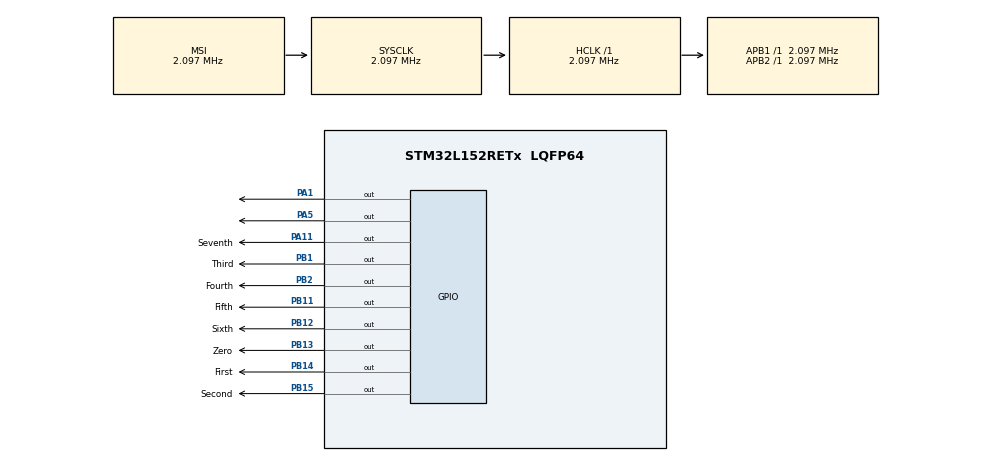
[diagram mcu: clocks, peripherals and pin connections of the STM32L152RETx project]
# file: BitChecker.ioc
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Mcu.Family=STM32L1
Mcu.Name=STM32L152RETx
Mcu.Package=LQFP64
NVIC.PriorityGroup=NVIC_PRIORITYGROUP_4
PA1.PinState=GPIO_PIN_SET
PA1.Signal=GPIO_Output
PA11.GPIO_Label=Seventh
PA11.PinState=GPIO_PIN_SET
PA11.Signal=GPIO_Output
PA5.Signal=GPIO_Output
PB1.GPIO_Label=Third
PB1.GPIO_Speed=GPIO_SPEED_FREQ_LOW
PB1.PinState=GPIO_PIN_SET
PB1.Signal=GPIO_Output
PB11.GPIO_Label=Fifth
PB11.Signal=GPIO_Output
PB12.GPIO_Label=Sixth
PB12.Signal=GPIO_Output
PB13.GPIO_Label=Zero
PB13.Signal=GPIO_Output
PB14.GPIO_Label=First
PB14.Signal=GPIO_Output
PB15.GPIO_Label=Second
PB15.Signal=GPIO_Output
PB2.GPIO_Label=Fourth
PB2.Signal=GPIO_Output
ProjectManager.HeapSize=0x200
ProjectManager.StackSize=0x400
ProjectManager.TargetToolchain=MDK-ARM V5.27
RCC.AHBFreq_Value=2097000
RCC.APB1Freq_Value=2097000
RCC.APB2Freq_Value=2097000
RCC.HSE_VALUE=24000000
RCC.HSI_VALUE=16000000
RCC.LSE_VALUE=32768
RCC.MSI_VALUE=2097000
RCC.SYSCLKFreq_VALUE=2097000
RCC.VCOOutputFreq_Value=48000000
board=custom

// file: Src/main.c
/* USER CODE BEGIN Header */
/**
  ******************************************************************************
  * @file           : main.c
  * @brief          : Main program body
  ******************************************************************************
  * @attention
  *
  * <h2><center>&copy; Copyright (c) 2020 STMicroelectronics.
  * All rights reserved.</center></h2>
  *
  * This software component is licensed by ST under BSD 3-Clause license,
  * the "License"; You may not use this file except in compliance with the
  * License. You may obtain a copy of the License at:
  *                        opensource.org/licenses/BSD-3-Clause
  *
  ******************************************************************************
  */
/* USER CODE END Header */

#include "main.h"

/* USER CODE BEGIN PM */
void SendToComp(uint8_t *input);
void setPin(GPIO_TypeDef* GPIOx, uint16_t GPIO_Pin, int shift_amt, uint8_t *input);
/* USER CODE END PM */

void SystemClock_Config(void);
static void MX_GPIO_Init(void);

int main(void)
{
  /* USER CODE BEGIN 1 */
	uint8_t var;
  /* USER CODE END 1 */

  /* MCU Configuration--------------------------------------------------------*/

  /* Reset of all peripherals, Initializes the Flash interface and the Systick. */
  HAL_Init();

  /* Configure the system clock */
  SystemClock_Config();

  /* Initialize all configured peripherals */
  MX_GPIO_Init();

  /* Infinite loop */
  while (1)
  {

    /* USER CODE BEGIN 3 */
		HAL_GPIO_WritePin(GPIOA, GPIO_PIN_1, GPIO_PIN_SET);
		var = 0xAA;
		SendToComp(&var);
		HAL_Delay(100);
		var = 0x55;
		SendToComp(&var);
		HAL_Delay(100);
  }
  /* USER CODE END 3 */
}

void SystemClock_Config(void)
{
  RCC_OscInitTypeDef RCC_OscInitStruct = {0};
  RCC_ClkInitTypeDef RCC_ClkInitStruct = {0};

  /** Configure the main internal regulator output voltage
  */
  __HAL_PWR_VOLTAGESCALING_CONFIG(PWR_REGULATOR_VOLTAGE_SCALE1);
  /** Initializes the CPU, AHB and APB busses clocks
  */
  RCC_OscInitStruct.OscillatorType = RCC_OSCILLATORTYPE_MSI;
  RCC_OscInitStruct.MSIState = RCC_MSI_ON;
  RCC_OscInitStruct.MSICalibrationValue = 0;
  RCC_OscInitStruct.MSIClockRange = RCC_MSIRANGE_5;
  RCC_OscInitStruct.PLL.PLLState = RCC_PLL_NONE;
  if (HAL_RCC_OscConfig(&RCC_OscInitStruct) != HAL_OK)
  {
    Error_Handler();
  }
  /** Initializes the CPU, AHB and APB busses clocks
  */
  RCC_ClkInitStruct.ClockType = RCC_CLOCKTYPE_HCLK|RCC_CLOCKTYPE_SYSCLK
                              |RCC_CLOCKTYPE_PCLK1|RCC_CLOCKTYPE_PCLK2;
  RCC_ClkInitStruct.SYSCLKSource = RCC_SYSCLKSOURCE_MSI;
  RCC_ClkInitStruct.AHBCLKDivider = RCC_SYSCLK_DIV1;
  RCC_ClkInitStruct.APB1CLKDivider = RCC_HCLK_DIV1;
  RCC_ClkInitStruct.APB2CLKDivider = RCC_HCLK_DIV1;

  if (HAL_RCC_ClockConfig(&RCC_ClkInitStruct, FLASH_LATENCY_0) != HAL_OK)
  {
    Error_Handler();
  }
}

static void MX_GPIO_Init(void)
{
  GPIO_InitTypeDef GPIO_InitStruct = {0};

  /* GPIO Ports Clock Enable */
  __HAL_RCC_GPIOA_CLK_ENABLE();
  __HAL_RCC_GPIOB_CLK_ENABLE();

  /*Configure GPIO pin Output Level */
  HAL_GPIO_WritePin(GPIOA, GPIO_PIN_1|Seventh_Pin, GPIO_PIN_SET);

  /*Configure GPIO pin Output Level */
  HAL_GPIO_WritePin(GPIOA, GPIO_PIN_5, GPIO_PIN_RESET);

  /*Configure GPIO pin Output Level */
  HAL_GPIO_WritePin(Third_GPIO_Port, Third_Pin, GPIO_PIN_SET);

  /*Configure GPIO pin Output Level */
  HAL_GPIO_WritePin(GPIOB, Fourth_Pin|Fifth_Pin|Sixth_Pin|Zero_Pin
                          |First_Pin|Second_Pin, GPIO_PIN_RESET);

  /*Configure GPIO pins : PA1 PA5 Seventh_Pin */
  GPIO_InitStruct.Pin = GPIO_PIN_1|GPIO_PIN_5|Seventh_Pin;
  GPIO_InitStruct.Mode = GPIO_MODE_OUTPUT_PP;
  GPIO_InitStruct.Pull = GPIO_NOPULL;
  GPIO_InitStruct.Speed = GPIO_SPEED_FREQ_LOW;
  HAL_GPIO_Init(GPIOA, &GPIO_InitStruct);

  /*Configure GPIO pins : Third_Pin Fourth_Pin Fifth_Pin Sixth_Pin
                           Zero_Pin First_Pin Second_Pin */
  GPIO_InitStruct.Pin = Third_Pin|Fourth_Pin|Fifth_Pin|Sixth_Pin
                          |Zero_Pin|First_Pin|Second_Pin;
  GPIO_InitStruct.Mode = GPIO_MODE_OUTPUT_PP;
  GPIO_InitStruct.Pull = GPIO_NOPULL;
  GPIO_InitStruct.Speed = GPIO_SPEED_FREQ_LOW;
  HAL_GPIO_Init(GPIOB, &GPIO_InitStruct);

}

/* USER CODE BEGIN 4 */
void SendToComp (uint8_t *input){
	int shifter = 7;
	setPin(GPIOA, Seventh_Pin, shifter--, input);
	setPin(GPIOB, Sixth_Pin, shifter--, input);
	setPin(GPIOB, Fifth_Pin, shifter--, input);
	setPin(GPIOB, Fourth_Pin, shifter--, input);
	setPin(GPIOB, Third_Pin, shifter--, input);
	setPin(GPIOB, Second_Pin, shifter--, input);
	setPin(GPIOB, First_Pin, shifter--, input);
	setPin(GPIOB, Zero_Pin, shifter, input);

}

void setPin(GPIO_TypeDef* GPIOx, uint16_t GPIO_Pin, int shift_amt, uint8_t* input){
	if(*input & (1 << shift_amt)){
		HAL_GPIO_WritePin(GPIOx, GPIO_Pin, GPIO_PIN_SET);
	}
	else{
		HAL_GPIO_WritePin(GPIOx, GPIO_Pin, GPIO_PIN_RESET);
	}

}

/* USER CODE END 4 */

void Error_Handler(void)
{
}

/************************ (C) COPYRIGHT STMicroelectronics *****END OF FILE****/
